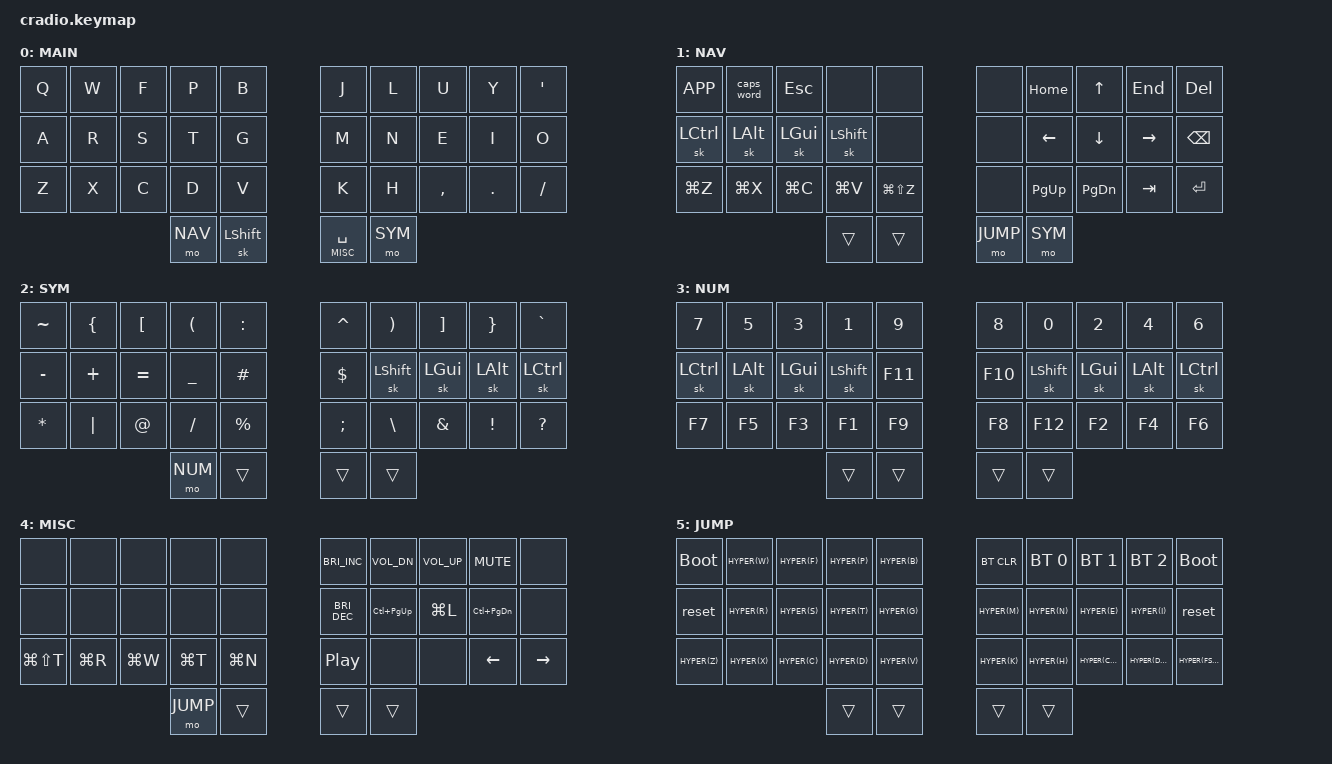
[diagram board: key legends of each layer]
// Copyright (c) 2022 The ZMK Contributors
// SPDX-License-Identifier: MIT

#include <behaviors.dtsi>
#include <dt-bindings/zmk/keys.h>
#include <dt-bindings/zmk/bt.h>

// Layer aliases
#define MAIN  0
#define NAV   1
#define SYM   2
#define NUM   3
#define MISC  4
#define JUMP  5

// Hyper Key Macro
#define HYPER(key) LS(LC(LA(LG(key))))

// Home row mods macro
#define HRML(k1,k2,k3,k4) &ht LSHFT k1  &ht LALT k2  &ht LCTRL k3  &ht LGUI k4
#define HRMR(k1,k2,k3,k4) &ht RGUI k1  &ht RCTRL k2  &ht RALT k3  &ht RSHFT k4

/ {
    behaviors {
        ht: hold_tap {
            label = "hold_tap";
            compatible = "zmk,behavior-hold-tap";
            #binding-cells = <2>;
            flavor = "tap-preferred";
            tapping-term-ms = <220>;
            quick-tap-ms = <150>;
            global-quick-tap;
            bindings = <&kp>, <&kp>;
        };
    };

    conditional_layers {
        compatible = "zmk,conditional-layers";
        tri_layer {
            if-layers = <NAV SYM>;
            then-layer = <NUM>;
        };
    };

    keymap {
        compatible = "zmk,keymap";
        main_layer {
            label = "MAIN";
            bindings = <
        //╭──────────┬──────────┬──────────┬──────────┬──────────╮   ╭──────────┬──────────┬──────────┬──────────┬──────────╮
        //│  Q       │  W       │  F       │  P       │  B       │   │  J       │  L       │  U       │  Y       │  ' "     │
            &kp Q      &kp W      &kp F      &kp P      &kp B          &kp J      &kp L      &kp U      &kp Y      &kp SQT
        //├──────────┼──────────┼──────────┼──────────┼──────────┤   ├──────────┼──────────┼──────────┼──────────┼──────────┤
        //│  A       │  R       │  S       │  T       │  G       │   │  M       │  N       │  E       │  I       │ O        │
            &kp A      &kp R      &kp S      &kp T      &kp G          &kp M      &kp N      &kp E      &kp I      &kp O
        //├──────────┼──────────┼──────────┼──────────┼──────────┤   ├──────────┼──────────┼──────────┼──────────┼──────────┤
        //│  Z       │  X       │  C       │  D       │  V       │   │  K       │  H       │ , <      │ . >      │ / ?      │
            &kp Z      &kp X      &kp C      &kp D      &kp V          &kp K      &kp H      &kp COMMA  &kp DOT    &kp FSLH
        //╰──────────┴──────────┴──────────┼──────────┼──────────┤   ├──────────┼──────────┼──────────┴──────────┴──────────╯
                                             &mo NAV   &sk LSHIFT     &lt MISC SPACE &mo SYM
        //                                 ╰──────────┴──────────╯   ╰──────────┴──────────╯
            >;
        };

        nav_layer {
            label = "NAV";
            bindings = <
        //╭──────────┬──────────┬──────────┬──────────┬──────────╮   ╭──────────┬──────────┬──────────┬──────────┬──────────╮
        //│ APP      │  CAPS    │  ESC     │          │          │   │          │ HOME     │ UP       │ END      │  DELETE  │
            &kp K_APP &caps_word  &kp ESC    &none       &none          &none     &kp HOME    &kp UP     &kp END    &kp DEL
        //├──────────┼──────────┼──────────┼──────────┼──────────┤   ├──────────┼──────────┼──────────┼──────────┼──────────┤
        //│          │          │          │          │          │   │          │ LEFT     │ DOWN     │ RIGHT    │          │
            &sk LCTRL  &sk LALT   &sk LGUI  &sk LSHIFT  &none           &none     &kp LEFT   &kp DOWN   &kp RIGHT   &kp BSPC
        //├──────────┼──────────┼──────────┼──────────┼──────────┤   ├──────────┼──────────┼──────────┼──────────┼──────────┤
        //│          │          │          │          │          │   │          │          │          │          │          │
           &kp LG(Z)  &kp LG(X)  &kp LG(C)  &kp LG(V)  &kp LG(LS(Z))    &none     &kp PG_UP  &kp PG_DN  &kp TAB   &kp ENTER
        //╰──────────┴──────────┴──────────┼──────────┼──────────┤   ├──────────┼──────────┼──────────┴──────────┴──────────╯
                                             &trans      &trans        &mo JUMP   &mo SYM
        //                                 ╰──────────┴──────────╯   ╰──────────┴──────────╯
            >;
        };

        sym_layer {
            label = "SYM";
            bindings = <
        //╭──────────┬──────────┬──────────┬──────────┬──────────╮   ╭──────────┬──────────┬──────────┬──────────┬──────────╮
        //│    ~     │  {       │  [       │  (       │    :     │   │  ^       │  )       │  ]       │  }       │  `       │
            &kp TILDE   &kp LBRC  &kp LBKT    &kp LPAR   &kp COLON      &kp CARET  &kp RPAR   &kp RBKT   &kp RBRC   &kp GRAVE
        //├──────────┼──────────┼──────────┼──────────┼──────────┤   ├──────────┼──────────┼──────────┼──────────┼──────────┤
        //│  -       │  +       │  =       │  _       │  #       │   │  $       │          │          │          │          │
            &kp MINUS  &kp PLUS   &kp EQUAL &kp UNDER   &kp HASH      &kp DOLLAR &sk LSHIFT  &sk LGUI   &sk LALT  &sk LCTRL
        //├──────────┼──────────┼──────────┼──────────┼──────────┤   ├──────────┼──────────┼──────────┼──────────┼──────────┤
        //│   *      │     │    │    @     │   / ?    │     %    │   │          │  \       │  &       │  !       │    ?     │
            &kp ASTRK  &kp PIPE   &kp AT    &kp FSLH   &kp PRCNT       &kp SEMI   &kp BSLH  &kp AMPS    &kp EXCL   &kp QMARK
        //╰──────────┴──────────┴──────────┼──────────┼──────────┤   ├──────────┼──────────┼──────────┴──────────┴──────────╯
                                             &mo NUM     &trans         &trans     &trans
        //                                 ╰──────────┴──────────╯   ╰──────────┴──────────╯
            >;
        };

        num_layer {
            label = "NUM";
            bindings = <
        //╭──────────┬──────────┬──────────┬──────────┬──────────╮   ╭──────────┬──────────┬──────────┬──────────┬──────────╮
        //│          │          │          │          │          │   │          │          │          │          │          │
            &kp N7      &kp N5     &kp N3    &kp N1      &kp N9         &kp N8     &kp N0     &kp N2     &kp N4     &kp N6
        //├──────────┼──────────┼──────────┼──────────┼──────────┤   ├──────────┼──────────┼──────────┼──────────┼──────────┤
        //│          │          │          │          │          │   │          │          │          │          │          │
            &sk LCTRL  &sk LALT   &sk LGUI  &sk LSHIFT  &kp F11         &kp F10  &sk LSHIFT  &sk LGUI   &sk LALT   &sk LCTRL
        //├──────────┼──────────┼──────────┼──────────┼──────────┤   ├──────────┼──────────┼──────────┼──────────┼──────────┤
        //│          │          │          │          │          │   │          │          │          │          │          │
            &kp F7     &kp F5     &kp F3     &kp F1     &kp F9          &kp F8     &kp F12    &kp F2     &kp F4     &kp F6
        //╰──────────┴──────────┴──────────┼──────────┼──────────┤   ├──────────┼──────────┼──────────┴──────────┴──────────╯
                                              &trans     &trans        &trans       &trans
        //                                 ╰──────────┴──────────╯   ╰──────────┴──────────╯
            >;
        };

        misc_layer {
            label = "MISC";
            bindings = <
        //╭──────────┬──────────┬──────────┬──────────┬──────────╮   ╭──────────┬──────────┬──────────┬──────────┬──────────╮
        //│          │          │          │          │          │   │          │          │          │          │          │
            &none     &none      &none      &none      &none        &kp C_BRI_INC &kp C_VOL_DN &kp C_VOL_UP &kp K_MUTE &none
        //├──────────┼──────────┼──────────┼──────────┼──────────┤   ├──────────┼──────────┼──────────┼──────────┼──────────┤
        //│          │          │          │          │          │   │          │          │          │          │          │
             &none      &none     &none     &none        &none      &kp C_BRI_DEC &kp LC(PG_UP) &kp LG(L) &kp LC(PG_DN) &none
        //├──────────┼──────────┼──────────┼──────────┼──────────┤   ├──────────┼──────────┼──────────┼──────────┼──────────┤
        //│          │          │          │          │          │   │          │          │          │          │          │
           &kp LG(LS(T)) &kp LG(R) &kp LG(W) &kp LG(T)  &kp LG(N)     &kp C_PLAY_PAUSE  &none  &none  &kp LEFT  &kp RIGHT
        //╰──────────┴──────────┴──────────┼──────────┼──────────┤   ├──────────┼──────────┼──────────┴──────────┴──────────╯
                                             &mo JUMP    &trans         &trans    &trans
        //                                 ╰──────────┴──────────╯   ╰──────────┴──────────╯
            >;
        };
        
        jump_layer {
            label = "JUMP";
            bindings = <
        //╭──────────┬──────────┬──────────┬──────────┬──────────╮   ╭──────────┬──────────┬──────────┬──────────┬──────────╮
        //│BOOTLOADER│          │          │          │          │   │CLEAR BT  │PROFILE 0 │ PROFILE 1│ PROFILE 2│BOOTLOADER│
           &bootloader  &kp HYPER(W) &kp HYPER(F) &kp HYPER(P) &kp HYPER(B) &bt BT_CLR &bt BT_SEL 0  &bt BT_SEL 1 &bt BT_SEL 2 &bootloader
        //├──────────┼──────────┼──────────┼──────────┼──────────┤   ├──────────┼──────────┼──────────┼──────────┼──────────┤
        //│ RESET    │          │          │          │          │   │          │          │          │          │   RESET  │
           &reset &kp HYPER(R) &kp HYPER(S) &kp HYPER(T) &kp HYPER(G) &kp HYPER(M) &kp HYPER(N) &kp HYPER(E) &kp HYPER(I)  &reset
        //├──────────┼──────────┼──────────┼──────────┼──────────┤   ├──────────┼──────────┼──────────┼──────────┼──────────┤
        //│          │          │          │          │          │   │          │          │          │          │          │
        &kp HYPER(Z) &kp HYPER(X) &kp HYPER(C) &kp HYPER(D) &kp HYPER(V) &kp HYPER(K) &kp HYPER(H) &kp HYPER(COMMA) &kp HYPER(DOT) &kp HYPER(FSLH)
        //╰──────────┴──────────┴──────────┼──────────┼──────────┤   ├──────────┼──────────┼──────────┴──────────┴──────────╯
                                             &trans     &trans         &trans     &trans
        //                                 ╰──────────┴──────────╯   ╰──────────┴──────────╯
            >;
        };
    };
};
